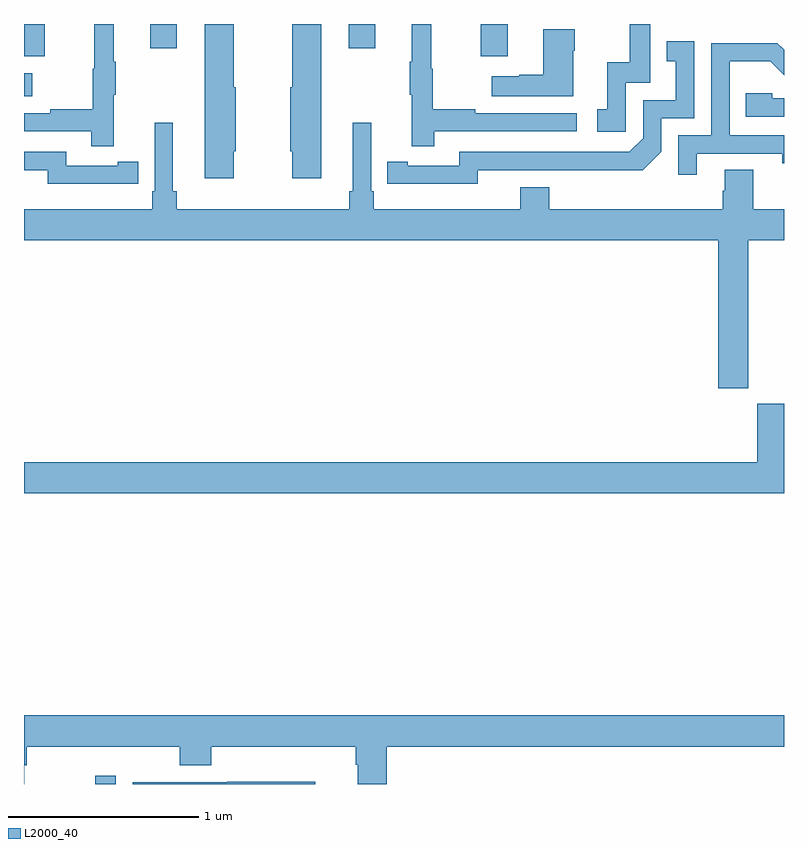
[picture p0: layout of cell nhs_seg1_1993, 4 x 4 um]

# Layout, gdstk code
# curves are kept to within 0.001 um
import gdstk
lib = gdstk.Library(unit=1e-6, precision=1e-09)
def R(c, l, rs):  # rectangles x0, y0, x1, y1
    for r in rs: c.add(gdstk.rectangle(r[:2], r[2:], *l))
def P(c, l, *ps):  # polygons
    for p in ps: c.add(gdstk.Polygon(p, *l))
L2000_40 = (2000, 40)

nhs_seg1_1993 = lib.new_cell('nhs_seg1_1993')
R(nhs_seg1_1993, L2000_40, [(219.375,554.199,219.483,554.242), (219,557.819,219.043,557.941), (219,558.03,219.109,558.199), (221.405,558.03,221.545,558.199), (219.665,558.072,219.805,558.199), (220.709,558.072,220.849,558.199)])
P(nhs_seg1_1993, L2000_40, [(220.104,557.529),(220.114,557.529),(220.114,557.865),(220.104,557.865),(220.104,558.199),(219.95,558.199),(219.95,557.388),(220.104,557.388)],
  [(221.159,557.634),(221.908,557.634),(221.908,557.73),(221.375,557.73),(221.375,557.75),(221.152,557.75),(221.152,557.964),(221.144,557.964),(221.144,558.199),(221.042,558.199),(221.042,558.001),(221.031,558.001),(221.031,557.827),(221.042,557.827),(221.042,557.556),(221.159,557.556)],
  [(222.168,557.889),(222.297,557.889),(222.297,558.199),(222.189,558.199),(222.189,557.998),(222.071,557.998),(222.071,557.751),(222.018,557.751),(222.018,557.631),(222.168,557.631)],
  [(219.473,557.827),(219.484,557.827),(219.484,558.001),(219.473,558.001),(219.473,558.199),(219.37,558.199),(219.37,557.964),(219.363,557.964),(219.363,557.75),(219.139,557.75),(219.139,557.73),(219,557.73),(219,557.634),(219.355,557.634),(219.355,557.556),(219.473,557.556)],
  [(220.564,558.199),(220.411,558.199),(220.411,557.865),(220.4,557.865),(220.4,557.529),(220.411,557.529),(220.411,557.388),(220.564,557.388)],
  [(221.89,558.059),(221.898,558.059),(221.898,558.172),(221.732,558.172),(221.732,557.933),(221.606,557.933),(221.606,557.923),(221.463,557.923),(221.463,557.819),(221.89,557.819)],
  [(221.388,557.43),(222.256,557.429),(222.354,557.526),(222.354,557.703),(222.528,557.703),(222.528,558.109),(222.382,558.109),(222.382,558.003),(222.431,558.003),(222.431,557.799),(222.258,557.799),(222.258,557.598),(222.186,557.526),(221.292,557.526),(221.292,557.454),(221.02,557.454),(221.02,557.474),(220.912,557.474),(220.912,557.358),(221.388,557.357)],
  [(222.541,557.517),(222.992,557.517),(222.992,557.466),(223,557.466),(223,557.613),(222.714,557.613),(222.714,558.002),(222.928,558.002),(223,557.93),(223,558.063),(222.964,558.099),(222.618,558.099),(222.618,557.613),(222.444,557.613),(222.444,557.406),(222.541,557.406)],
  [(223,557.808),(222.939,557.808),(222.939,557.835),(222.799,557.835),(222.799,557.712),(223,557.712)],
  [(222.813,557.06),(223,557.06),(223,557.224),(222.837,557.224),(222.837,557.432),(222.689,557.432),(222.689,557.322),(222.677,557.322),(222.677,557.224),(221.765,557.224),(221.765,557.341),(221.612,557.341),(221.612,557.224),(220.841,557.224),(220.841,557.32),(220.827,557.32),(220.827,557.68),(220.73,557.68),(220.73,557.32),(220.711,557.32),(220.711,557.224),(219.803,557.224),(219.803,557.32),(219.784,557.32),(219.784,557.68),(219.687,557.68),(219.687,557.32),(219.674,557.32),(219.674,557.224),(219,557.224),(219,557.06),(222.653,557.06),(222.653,556.281),(222.813,556.281)],
  [(219.494,557.358),(219.602,557.358),(219.602,557.474),(219.494,557.474),(219.494,557.454),(219.222,557.454),(219.222,557.526),(219,557.526),(219,557.43),(219.126,557.43),(219.126,557.357),(219.494,557.357)],
  [(223,556.201),(222.86,556.201),(222.86,555.892),(219,555.892),(219,555.728),(223,555.728)],
  [(219.001,554.298),(219.014,554.298),(219.014,554.396),(219.821,554.396),(219.821,554.297),(219.986,554.297),(219.986,554.396),(220.745,554.396),(220.745,554.3),(220.757,554.3),(220.757,554.199),(220.91,554.199),(220.91,554.396),(223,554.396),(223,554.56),(219,554.56),(219,554.199),(219.001,554.199)],
  [(220.533,554.21),(220.069,554.21),(220.069,554.208),(219.573,554.208),(219.573,554.199),(220.533,554.199)])

lib.write_gds('nhs_seg1_1993.gds')
